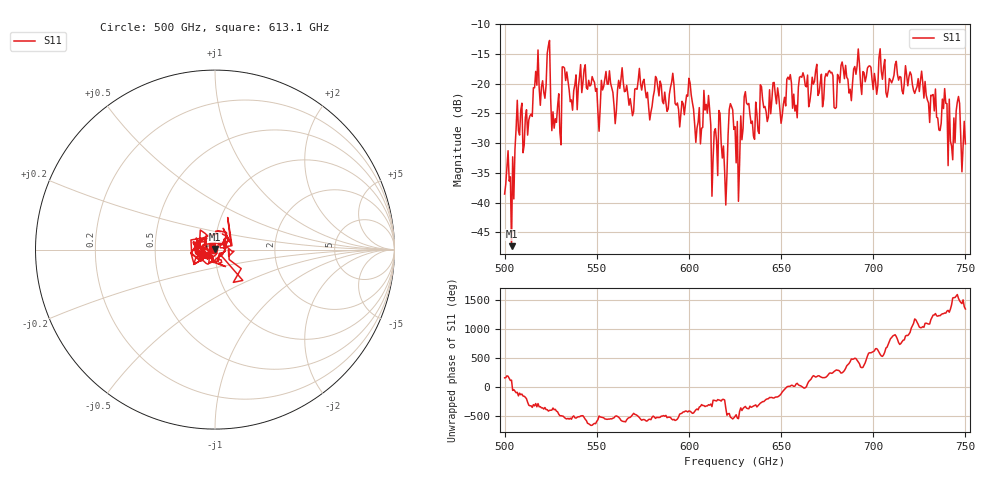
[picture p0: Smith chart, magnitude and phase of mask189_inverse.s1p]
!Created with skrf (http://scikit-rf.org).
# GHz S MA R 50.0
!freq magS11 angS11
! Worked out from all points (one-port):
!   401 points, 500 GHz to 750 GHz, reference 50 ohm
!   lowest |S11| = -47.3 dB at 503.8 GHz (marker M1), VSWR 1.01, Z = 49.8 + j0.396 ohm
!   |S11| at or under -10 dB: start of sweep to end of sweep
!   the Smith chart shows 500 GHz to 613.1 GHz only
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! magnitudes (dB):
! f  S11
! 500 GHz  -38.6
! 503.8 GHz  -47.3
! 507.5 GHz  -27.9
! 513.8 GHz  -25.4
! 516.9 GHz  -17.9
! 523.8 GHz  -13.6
! 526.9 GHz  -27.5
! 531.2 GHz  -17.2
! 532.5 GHz  -17.4
! 550.6 GHz  -24.7
! 562.5 GHz  -20.8
! 593.8 GHz  -23.2
! 600 GHz  -19.1
! 605 GHz  -26.5
! 609.4 GHz  -23.5
! 613.8 GHz  -28.1
! 617.5 GHz  -30.0
! 619.4 GHz  -34.7
! 622.5 GHz  -23.4
! 625 GHz  -27.2
! 626.2 GHz  -26.4
! 631.2 GHz  -23.3
! 634.4 GHz  -26.3
! 656.2 GHz  -24.1
! 687.5 GHz  -20.9
! 691.2 GHz  -17.0
! 718.8 GHz  -20.3
! 750 GHz  -30.1
